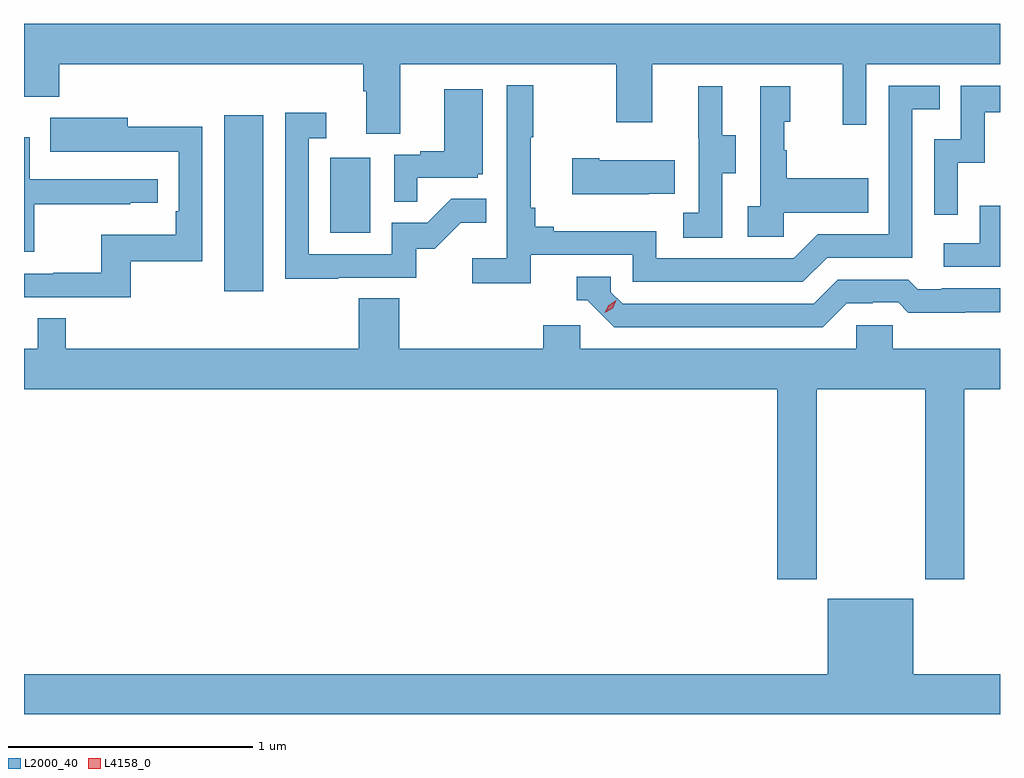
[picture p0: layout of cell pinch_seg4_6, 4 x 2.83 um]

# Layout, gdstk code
import gdstk
lib = gdstk.Library(unit=1e-6, precision=1e-09)
def R(c, l, rs):  # rectangles x0, y0, x1, y1
    for r in rs: c.add(gdstk.rectangle(r[:2], r[2:], *l))
def P(c, l, *ps):  # polygons
    for p in ps: c.add(gdstk.Polygon(p, *l))
L2000_40 = (2000, 40)
L4158_0 = (4158, 0)

pinch_seg4_6 = lib.new_cell('pinch_seg4_6')
R(pinch_seg4_6, L2000_40, [(1083.299,818.532,1083.46,819.253), (1083.734,818.772,1083.898,819.079)])
P(pinch_seg4_6, L2000_40, [(1084.021,819.464),(1084.906,819.464),(1084.906,819.225),(1085.053,819.225),(1085.053,819.464),(1085.834,819.464),(1085.834,819.216),(1085.931,819.216),(1085.931,819.464),(1086.479,819.464),(1086.479,819.628),(1082.479,819.628),(1082.479,819.329),(1082.624,819.329),(1082.624,819.464),(1083.869,819.464),(1083.869,819.352),(1083.881,819.352),(1083.881,819.178),(1084.021,819.178)],
  [(1084.556,818.682),(1084.974,818.682),(1084.974,818.571),(1085.671,818.571),(1085.77,818.67),(1086.12,818.67),(1086.12,819.279),(1086.233,819.279),(1086.233,819.375),(1086.024,819.375),(1086.024,818.766),(1085.733,818.766),(1085.634,818.667),(1085.07,818.667),(1085.07,818.779),(1084.651,818.779),(1084.651,818.798),(1084.574,818.798),(1084.574,818.875),(1084.555,818.875),(1084.555,819.163),(1084.567,819.163),(1084.567,819.376),(1084.458,819.376),(1084.458,818.668),(1084.317,818.668),(1084.317,818.566),(1084.556,818.566)],
  [(1086.306,819.059),(1086.416,819.059),(1086.416,819.267),(1086.479,819.267),(1086.479,819.375),(1086.318,819.375),(1086.318,819.156),(1086.21,819.156),(1086.21,818.847),(1086.306,818.847)],
  [(1085.34,819.016),(1085.395,819.016),(1085.395,819.171),(1085.341,819.171),(1085.341,819.373),(1085.243,819.373),(1085.243,819.159),(1085.244,819.159),(1085.244,818.855),(1085.181,818.855),(1085.181,818.752),(1085.34,818.752)],
  [(1085.592,818.855),(1085.939,818.855),(1085.939,818.995),(1085.605,818.995),(1085.605,819.11),(1085.595,819.11),(1085.595,819.228),(1085.62,819.228),(1085.62,819.373),(1085.496,819.373),(1085.496,818.882),(1085.445,818.882),(1085.445,818.757),(1085.592,818.757)],
  [(1084.091,818.997),(1084.338,818.997),(1084.338,819.012),(1084.36,819.012),(1084.36,819.361),(1084.202,819.361),(1084.202,819.106),(1084.103,819.106),(1084.103,819.093),(1083.996,819.093),(1083.996,818.899),(1084.091,818.899)],
  [(1083.767,818.589),(1084.086,818.589),(1084.086,818.706),(1084.162,818.706),(1084.269,818.813),(1084.373,818.813),(1084.373,818.912),(1084.229,818.912),(1084.131,818.814),(1083.987,818.814),(1083.987,818.685),(1083.645,818.685),(1083.645,819.159),(1083.718,819.159),(1083.718,819.265),(1083.549,819.265),(1083.549,818.584),(1083.767,818.584)],
  [(1082.917,818.655),(1083.21,818.655),(1083.21,819.206),(1082.905,819.206),(1082.905,819.244),(1082.587,819.244),(1082.587,819.104),(1082.801,819.104),(1082.801,819.105),(1083.114,819.105),(1083.114,818.86),(1083.101,818.86),(1083.101,818.764),(1082.796,818.764),(1082.796,818.609),(1082.599,818.609),(1082.599,818.604),(1082.479,818.604),(1082.479,818.508),(1082.917,818.508)],
  [(1082.522,818.89),(1082.915,818.89),(1082.915,818.895),(1083.028,818.895),(1083.028,818.991),(1082.502,818.991),(1082.502,819.163),(1082.479,819.163),(1082.479,818.694),(1082.522,818.694)],
  [(1085.039,818.933),(1085.147,818.933),(1085.147,819.07),(1084.837,819.07),(1084.837,819.078),(1084.725,819.078),(1084.725,818.93),(1085.039,818.93)],
  [(1086.479,818.884),(1086.396,818.884),(1086.396,818.73),(1086.249,818.73),(1086.249,818.634),(1086.479,818.634)],
  [(1085.851,818.484),(1085.958,818.484),(1085.958,818.487),(1086.061,818.487),(1086.103,818.445),(1086.336,818.445),(1086.336,818.447),(1086.479,818.447),(1086.479,818.544),(1086.241,818.544),(1086.241,818.541),(1086.142,818.541),(1086.103,818.58),(1085.814,818.58),(1085.715,818.481),(1084.932,818.481),(1084.884,818.529),(1084.884,818.592),(1084.745,818.592),(1084.745,818.496),(1084.788,818.496),(1084.899,818.385),(1085.752,818.385)],
  [(1085.727,818.132),(1086.172,818.132),(1086.172,817.353),(1086.332,817.353),(1086.332,818.132),(1086.479,818.132),(1086.479,818.296),(1086.039,818.296),(1086.039,818.394),(1085.889,818.394),(1085.889,818.296),(1084.758,818.296),(1084.758,818.394),(1084.607,818.394),(1084.607,818.296),(1084.016,818.296),(1084.016,818.504),(1083.851,818.504),(1083.851,818.296),(1082.651,818.296),(1082.651,818.423),(1082.535,818.423),(1082.535,818.296),(1082.479,818.296),(1082.479,818.132),(1085.567,818.132),(1085.567,817.353),(1085.727,817.353)],
  [(1086.479,816.964),(1086.124,816.964),(1086.124,817.273),(1085.774,817.273),(1085.774,816.964),(1082.479,816.964),(1082.479,816.8),(1086.479,816.8)])
P(pinch_seg4_6, L4158_0, [(1084.86,818.444),(1084.86,818.444),(1084.876,818.476),(1084.907,818.496),(1084.907,818.496),(1084.907,818.496),(1084.891,818.463),(1084.86,818.444)])

lib.write_gds('pinch_seg4_6.gds')
